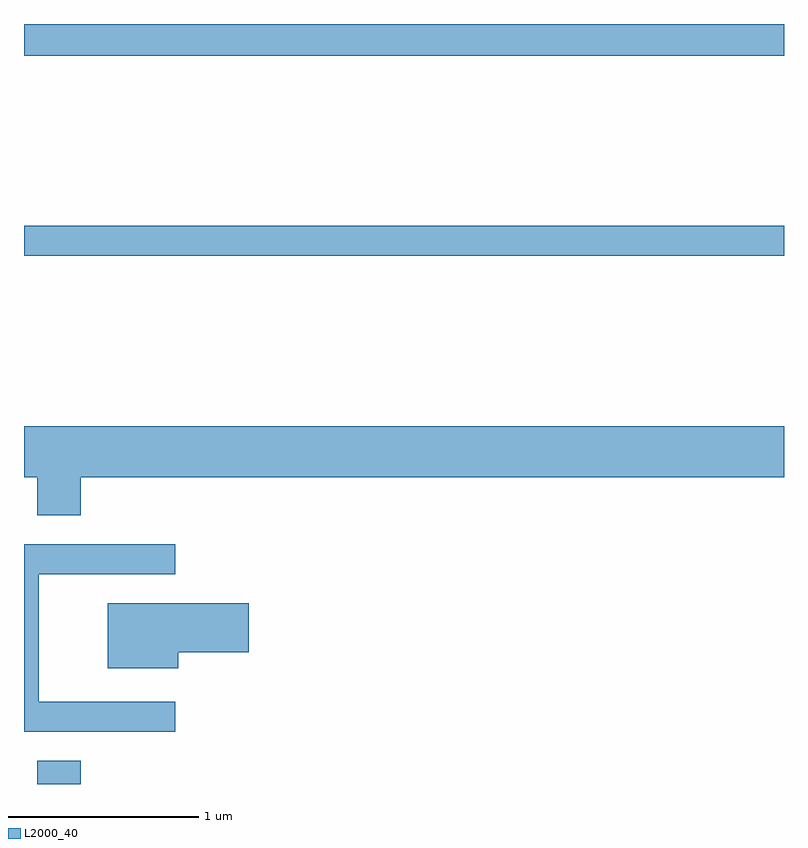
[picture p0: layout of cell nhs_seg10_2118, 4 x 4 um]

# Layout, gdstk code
import gdstk
lib = gdstk.Library(unit=1e-6, precision=1e-09)
def R(c, l, rs):  # rectangles x0, y0, x1, y1
    for r in rs: c.add(gdstk.rectangle(r[:2], r[2:], *l))
def P(c, l, *ps):  # polygons
    for p in ps: c.add(gdstk.Polygon(p, *l))
L2000_40 = (2000, 40)

nhs_seg10_2118 = lib.new_cell('nhs_seg10_2118')
R(nhs_seg10_2118, L2000_40, [(247.681,2114.522,247.909,2114.644), (247.611,2117.301,251.611,2117.459), (247.611,2118.356,251.611,2118.522)])
P(nhs_seg10_2118, L2000_40, [(247.611,2116.136),(247.681,2116.136),(247.681,2115.936),(247.909,2115.936),(247.909,2116.136),(251.611,2116.136),(251.611,2116.404),(247.611,2116.404)],
  [(248.408,2114.954),(247.689,2114.954),(247.689,2115.626),(248.408,2115.626),(248.408,2115.784),(247.611,2115.784),(247.611,2114.796),(248.408,2114.796)],
  [(248.424,2115.216),(248.794,2115.216),(248.794,2115.474),(248.051,2115.474),(248.051,2115.131),(248.424,2115.131)])

lib.write_gds('nhs_seg10_2118.gds')
